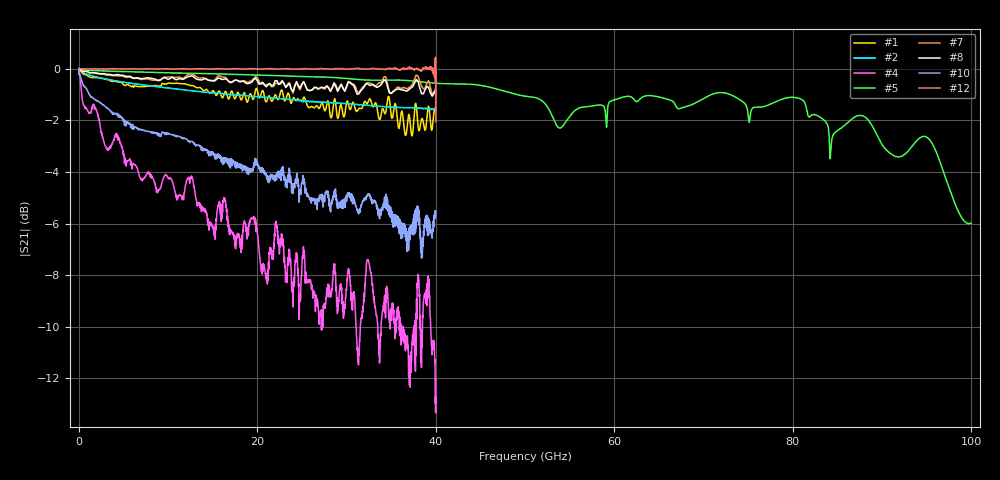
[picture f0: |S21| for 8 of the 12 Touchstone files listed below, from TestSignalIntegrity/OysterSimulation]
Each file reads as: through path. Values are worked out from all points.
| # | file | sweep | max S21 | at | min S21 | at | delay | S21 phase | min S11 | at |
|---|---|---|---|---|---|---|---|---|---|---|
| 1 | 123456_I1_I4.s2p | 5 MHz to 40 GHz | -0.02 dB | 5 MHz | -2.6 dB | 37.34 GHz | 816 ps | -91 deg at 20 GHz | -66.0 dB | 11.61 GHz |
| 2 | Cable1_resampled.s2p | 50 MHz to 40 GHz | -0.01 dB | 50 MHz | -1.6 dB | 40 GHz | - | -20 deg at 20.05 GHz | -63.7 dB | 36.35 GHz |
| 3 | OysterFixtureThru.s2p | 5 MHz to 40 GHz | -0.03 dB | 5 MHz | -2.5 dB | 37.34 GHz | 816 ps | -93 deg at 20 GHz | -63.8 dB | 11.6 GHz |
| 4 | OysterThru1.s2p | 5 MHz to 40 GHz | 0.03 dB | 5 MHz | -13.3 dB | 39.98 GHz | 7.59 ns | 43 deg at 20 GHz | -63.2 dB | 7.32 GHz |
| 5 | PS_module_P1chip_P2coax.s2p | 10 MHz to 100 GHz | -0.03 dB | 10 MHz | -6.0 dB | 99.77 GHz | 70.8 ps | -153 deg at 50.01 GHz | -51.4 dB | 13.59 GHz |
| 6 | RadiallRelayClosed.s2p | 50 MHz to 40 GHz | 0.00 dB | 12.9 GHz | -0.8 dB | 40 GHz | 116 ps | -112 deg at 20.05 GHz | -57.7 dB | 50 MHz |
| 7 | SemiRigidCable1.s2p | 200 MHz to 40 GHz | -0.05 dB | 200 MHz | -1.0 dB | 39.6 GHz | - | -177 deg at 20.2 GHz | -66.0 dB | 39.2 GHz |
| 8 | SemiRigidCable2.s2p | 200 MHz to 40 GHz | -0.05 dB | 200 MHz | -1.1 dB | 39.6 GHz | - | -167 deg at 20.2 GHz | -55.3 dB | 16.8 GHz |
| 9 | TeledyneRelayClosed.s2p | 500 MHz to 40 GHz | -0.04 dB | 500 MHz | -0.6 dB | 37.5 GHz | 124 ps | 175 deg at 20.5 GHz | -45.7 dB | 500 MHz |
| 10 | TestOysterTest_testOysterIdealThruRecovery_RawCalc.s2p | 5 MHz to 40 GHz | -0.10 dB | 5 MHz | -7.3 dB | 38.4 GHz | 5.99 ns | 66 deg at 20 GHz | -71.7 dB | 535 MHz |
| 11 | TestOysterTest_testOysterIdealThruRecovery_RawCalcMonteCarlo.s2p | 5 MHz to 40 GHz | 0.01 dB | 5 MHz | -6.9 dB | 40 GHz | 5.99 ns | 63 deg at 20 GHz | -56.9 dB | 12.07 GHz |
| 12 | TestOysterTest_testZOysterMonteCarloThru_ThruCalc.s2p | 5 MHz to 40 GHz | 0.45 dB | 39.97 GHz | -2.1 dB | 40 GHz | - | -0 deg at 20 GHz | -62.3 dB | 20 MHz |
